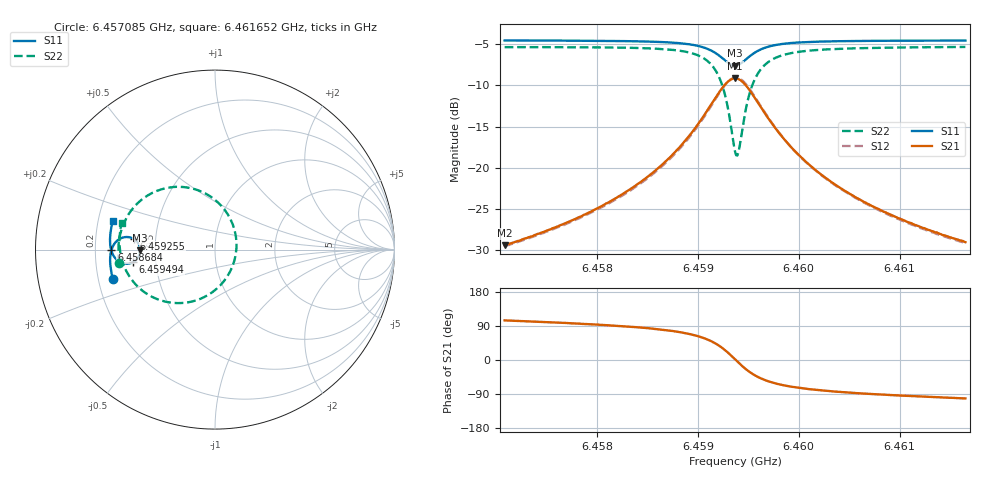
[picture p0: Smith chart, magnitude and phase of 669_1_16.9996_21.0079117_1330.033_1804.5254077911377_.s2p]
#  HZ  S  RI  R  50.00
! Rohde & Schwarz Vector Network Analyzer
! Rohde-Schwarz,ZNB20-2Port,1311601062101988,3.16
! Created: UTC 3/20/2024, 11:22:04 PM
! freq[Hz]  re:S11  im:S11  re:S21  im:S21  re:S12  im:S12  re:S22  im:S22
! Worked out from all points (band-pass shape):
!   401 points, 6.457085 GHz to 6.461652 GHz, reference 50 ohm
!   highest |S21| = -9.14 dB at 6.459369 GHz (marker M1); lowest = -29.4 dB at 6.457085 GHz (marker M2)
!   |S21| within 3 dB of the highest: 6.459142 GHz to 6.459599 GHz (456.9 kHz wide, 0.00707 % of centre)
!   lowest |S11| = -7.6 dB at 6.459369 GHz (marker M3), VSWR 2.43, Z = 20.6 - j0.201 ohm
!   |S11| at or under -10 dB: nowhere
!   |S22| runs from -18.5 to -5.3 dB; largest |S21 - S12| = 0.014
!   S11 on the Smith chart (normalised r, x): 6.457085 GHz: 0.26, -0.13; 6.458684 GHz: 0.27, -0.00; 6.459255 GHz: 0.37, +0.06; 6.459494 GHz: 0.37, -0.07; 6.461652 GHz: 0.26, +0.13
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6.4570853e9  -0.5691 -0.1639  -0.0085 0.0328  -0.0067 0.0329  -0.5342 -0.0755
6.4578503e9  -0.582 -0.0966  -0.00478 0.0509  -0.00241 0.0503  -0.5382 0.0146
6.4582499e9  -0.5843 -0.0564  0.000757 0.0691  0.004 0.0677  -0.5298 0.0777
6.4586153e9  -0.58 -0.013  0.0157 0.0994  0.0196 0.0965  -0.5022 0.1597
6.4586838e9  -0.5776 -0.00341  0.0212 0.1077  0.0252 0.1044  -0.4917 0.1796
6.4588779e9  -0.5646 0.0268  0.0482 0.1385  0.0523 0.1335  -0.4409 0.2486
6.4590263e9  -0.5415 0.0528  0.094 0.1686  0.0972 0.1618  -0.3562 0.3123
6.4591633e9  -0.4974 0.07  0.1818 0.1845  0.1825 0.1771  -0.1958 0.3496
6.4592547e9  -0.4527 0.0594  0.2718 0.1526  0.272 0.1468  -0.0288 0.2981
6.4593232e9  -0.4234 0.0273  0.3325 0.0802  0.3346 0.0749  0.0871 0.1673
6.4593688e9  -0.4165 -0.00403  0.3489 0.0115  0.3525 0.00473  0.1197 0.039
6.4594031e9  -0.4205 -0.028  0.3429 -0.0414  0.3469 -0.0505  0.1079 -0.0617
6.4594488e9  -0.4364 -0.0544  0.3138 -0.1021  0.3162 -0.114  0.0492 -0.1763
6.4594944e9  -0.4586 -0.071  0.2711 -0.1434  0.2702 -0.1568  -0.0376 -0.2522
6.4595401e9  -0.4819 -0.078  0.2256 -0.166  0.2217 -0.1791  -0.1286 -0.2894
6.4595858e9  -0.5026 -0.0778  0.1847 -0.1745  0.1785 -0.1862  -0.2097 -0.298
6.4597342e9  -0.5468 -0.057  0.0957 -0.1597  0.0868 -0.1659  -0.3795 -0.2464
6.459894e9  -0.5683 -0.0291  0.0505 -0.1309  0.0427 -0.1337  -0.4604 -0.1724
6.4601338e9  -0.5808 0.00683  0.0213 -0.0985  0.0154 -0.099  -0.5079 -0.0884
6.4604992e9  -0.5851 0.0502  0.00487 -0.0699  0.000813 -0.0693  -0.5293 -0.0042
6.4608988e9  -0.5826 0.0905  -0.00198 -0.0525  -0.005 -0.0515  -0.5321 0.0599
6.4616524e9  -0.57 0.157  -0.00703 -0.0348  -0.00877 -0.0339  -0.5198 0.1496
